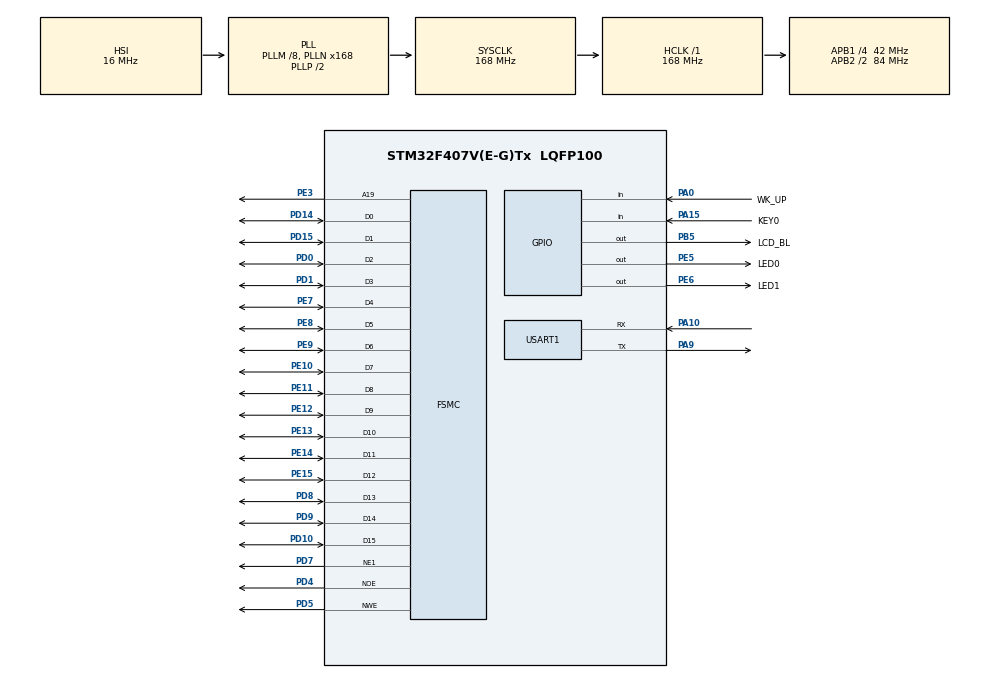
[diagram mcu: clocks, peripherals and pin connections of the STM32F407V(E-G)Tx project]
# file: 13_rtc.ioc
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FSMC.AddressSetupTime1=15
FSMC.BusTurnAroundDuration1=0
FSMC.DataSetupTime1=60
FSMC.ExtendedAddressSetupTime1=9
FSMC.ExtendedDataSetupTime1=9
FSMC.ExtendedMode1=FSMC_EXTENDED_MODE_ENABLE
Mcu.Family=STM32F4
Mcu.Name=STM32F407V(E-G)Tx
Mcu.Package=LQFP100
NVIC.PriorityGroup=NVIC_PRIORITYGROUP_2
NVIC.RTC_Alarm_IRQn=true\:0\:0\:false\:false\:true\:true\:true\:true
NVIC.TIM4_IRQn=true\:2\:1\:true\:false\:true\:true\:true\:true
NVIC.USART1_IRQn=true\:2\:2\:true\:false\:true\:true\:true\:true
PA0-WKUP.GPIO_Label=WK_UP
PA0-WKUP.GPIO_PuPd=GPIO_PULLDOWN
PA0-WKUP.Signal=GPIO_Input
PA10.Mode=Asynchronous
PA10.Signal=USART1_RX
PA13.Mode=Serial_Wire
PA13.Signal=SYS_JTMS-SWDIO
PA14.Mode=Serial_Wire
PA14.Signal=SYS_JTCK-SWCLK
PA15.GPIO_Label=KEY0
PA15.GPIO_PuPd=GPIO_PULLDOWN
PA15.Signal=GPIO_Input
PA9.Mode=Asynchronous
PA9.Signal=USART1_TX
PB5.GPIO_Label=LCD_BL
PB5.GPIO_PuPd=GPIO_PULLUP
PB5.GPIO_Speed=GPIO_SPEED_FREQ_HIGH
PB5.PinState=GPIO_PIN_SET
PB5.Signal=GPIO_Output
PC14-OSC32_IN.Mode=LSE-External-Oscillator
PC14-OSC32_IN.Signal=RCC_OSC32_IN
PC15-OSC32_OUT.Mode=LSE-External-Oscillator
PC15-OSC32_OUT.Signal=RCC_OSC32_OUT
PD0.Mode=16b-d1
PD0.Signal=FSMC_D2
PD1.Mode=16b-d1
PD1.Signal=FSMC_D3
PD10.Mode=16b-d1
PD10.Signal=FSMC_D15
PD14.Mode=16b-d1
PD14.Signal=FSMC_D0
PD15.Mode=16b-d1
PD15.Signal=FSMC_D1
PD4.Mode=Lcd1
PD4.Signal=FSMC_NOE
PD5.Mode=Lcd1
PD5.Signal=FSMC_NWE
PD7.Mode=NorPsramChipSelect1_1
PD7.Signal=FSMC_NE1
PD8.Mode=16b-d1
PD8.Signal=FSMC_D13
PD9.Mode=16b-d1
PD9.Signal=FSMC_D14
PE10.Mode=16b-d1
PE10.Signal=FSMC_D7
PE11.Mode=16b-d1
PE11.Signal=FSMC_D8
PE12.Mode=16b-d1
PE12.Signal=FSMC_D9
PE13.Mode=16b-d1
PE13.Signal=FSMC_D10
PE14.Mode=16b-d1
PE14.Signal=FSMC_D11
PE15.Mode=16b-d1
PE15.Signal=FSMC_D12
PE3.Mode=A19_1
PE3.Signal=FSMC_A19
PE5.GPIO_Label=LED0
PE5.GPIO_PuPd=GPIO_PULLUP
PE5.GPIO_Speed=GPIO_SPEED_FREQ_HIGH
PE5.PinState=GPIO_PIN_SET
PE5.Signal=GPIO_Output
PE6.GPIO_Label=LED1
PE6.GPIO_PuPd=GPIO_PULLUP
PE6.GPIO_Speed=GPIO_SPEED_FREQ_HIGH
PE6.PinState=GPIO_PIN_SET
PE6.Signal=GPIO_Output
PE7.Mode=16b-d1
PE7.Signal=FSMC_D4
PE8.Mode=16b-d1
PE8.Signal=FSMC_D5
PE9.Mode=16b-d1
PE9.Signal=FSMC_D6
PH0-OSC_IN.Mode=HSE-External-Oscillator
PH0-OSC_IN.Signal=RCC_OSC_IN
PH1-OSC_OUT.Mode=HSE-External-Oscillator
PH1-OSC_OUT.Signal=RCC_OSC_OUT
ProjectManager.HeapSize=0x200
ProjectManager.StackSize=0x400
ProjectManager.TargetToolchain=STM32CubeIDE
RCC.48MHZClocksFreq_Value=84000000
RCC.AHBFreq_Value=168000000
RCC.APB1CLKDivider=RCC_HCLK_DIV4
RCC.APB1Freq_Value=42000000
RCC.APB1TimFreq_Value=84000000
RCC.APB2CLKDivider=RCC_HCLK_DIV2
RCC.APB2Freq_Value=84000000
RCC.APB2TimFreq_Value=168000000
RCC.CortexFreq_Value=168000000
RCC.HCLKFreq_Value=168000000
RCC.HSE_VALUE=25000000
RCC.HSI_VALUE=16000000
RCC.PLLM=8
RCC.PLLN=168
RCC.RCC_RTC_Clock_Source=RCC_RTCCLKSOURCE_LSE
RCC.SYSCLKFreq_VALUE=168000000
RCC.SYSCLKSource=RCC_SYSCLKSOURCE_PLLCLK
RCC.VCOOutputFreq_Value=336000000
RTC.Alarm=RTC_ALARM_A
RTC.Date=18
RTC.Hours=9
RTC.Month=RTC_MONTH_APRIL
RTC.WeekDay=RTC_WEEKDAY_THURSDAY
RTC.Year=24
TIM4.AutoReloadPreload=TIM_AUTORELOAD_PRELOAD_ENABLE
TIM4.Period=1000
TIM4.Prescaler=8400-1
USART1.VirtualMode=VM_ASYNC
VP_RTC_VS_RTC_Activate.Mode=RTC_Enabled
VP_RTC_VS_RTC_Alarm_A_Intern.Mode=Alarm A
VP_RTC_VS_RTC_Calendar.Mode=RTC_Calendar
VP_TIM4_VS_ClockSourceINT.Mode=Internal
board=custom

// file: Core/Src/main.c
/**
 ****************************************************************************************************
 * @file        main.c
 * @author      ALIENTEK
 * @brief       rtc code
 * @license     Copyright (C) 2012-2024, ALIENTEK
 ****************************************************************************************************
 * @attention
 *
 * platform     : ALIENTEK M100-STM32F407 board
 * website      : www.alientek.com
 * forum        : www.openedv.com/forum.php
 *
 * change logs  :
 * version      data         notes
 * V1.0         20240409     the first version
 *
 ****************************************************************************************************
 */

/* USER CODE BEGIN Header */

/* USER CODE END Header */
#include "main.h"
#include "rtc.h"
#include "tim.h"
#include "usart.h"
#include "gpio.h"
#include "fsmc.h"

/* USER CODE BEGIN Includes */
#include "../../ATK_Middlewares/USMART/usmart.h"
#include "../../BSP/LED/led.h"
#include "../../BSP/KEY/key.h"
#include "../../BSP/LCD/lcd.h"
/* USER CODE END Includes */

/* USER CODE BEGIN PD */
/**
 * @brief   Displays information about the experiment
 * @param   None
 * @retval  None
 */
void stm32f407vg_show_mesg(void)
{
	/* The serial port outputs the experimental information */
	printf("\n");
	printf("********************************\r\n");
	printf("STM32F407\r\n");
	printf("RTC Test\r\n");
	printf("ATOM@ALIENTEK\r\n");
	printf("********************************\r\n");
	printf("\r\n");
}
/* USER CODE END PD */

/* USER CODE BEGIN PV */
char* weekdays[] = {"Sunday", "Monday", "Tuesday", "Wednesday",
                           "Thursday", "Friday", "Saterday"};
/* USER CODE END PV */

void SystemClock_Config(void);

int main(void)
{
  /* USER CODE BEGIN 1 */
  uint8_t t = 0;
  char tbuf[40];
  uint8_t hour, minute, second, ampm;
  uint8_t year, month, date, week;
  /* USER CODE END 1 */

  /* MCU Configuration--------------------------------------------------------*/

  /* Reset of all peripherals, Initializes the Flash interface and the Systick. */
  HAL_Init();

  /* Configure the system clock */
  SystemClock_Config();

  /* Initialize all configured peripherals */
  MX_GPIO_Init();
  MX_USART1_UART_Init();
  MX_FSMC_Init();
  MX_TIM4_Init();
  MX_RTC_Init();
  /* USER CODE BEGIN 2 */
  lcd_init();                                         /* Initialize LCD */
  stm32f407vg_show_mesg();
  lcd_show_string(30, 50, 200, 16, 16, "STM32", RED);
  lcd_show_string(30, 70, 200, 16, 16, "RTC TEST", RED);
  lcd_show_string(30, 90, 200, 16, 16, "ATOM@ALIENTEK", RED);

  /* Set RTC periodic wake-up interrupt */
  rtc_set_wakeup(RTC_WAKEUPCLOCK_CK_SPRE_16BITS, 0);
  /* USER CODE END 2 */

  /* Infinite loop */
  /* USER CODE BEGIN WHILE */
  while (1)
  {
	  t++;

	  if ((t % 10) == 0)
	  {
	  	 /* Get the RTC time information */
		  rtc_get_time(&hour, &minute, &second, &ampm);
		  sprintf(tbuf, "Time:%02d:%02d:%02d", hour, minute, second);
		  lcd_show_string(30, 120, 210, 16, 16, tbuf, RED);
		  /* Get the RTC date information */
		  rtc_get_date(&year, &month, &date, &week);
		  sprintf(tbuf, "Date:20%02d-%02d-%02d", year, month, date);
		  lcd_show_string(30, 140, 210, 16, 16, tbuf, RED);
		  sprintf(tbuf, "Week:%d", week);
		  lcd_show_string(30, 160, 210, 16, 16, tbuf, RED);
	  }

	  if (t == 20)
	  {
	  	 t = 0;
	  	 LED0_TOGGLE();   /* LED0 blinks to indicate that the program is running */
	  }

	  HAL_Delay(10);   	   /* delay 10ms */
    /* USER CODE END WHILE */

  }
}

void SystemClock_Config(void)
{
  RCC_OscInitTypeDef RCC_OscInitStruct = {0};
  RCC_ClkInitTypeDef RCC_ClkInitStruct = {0};

  /** Configure the main internal regulator output voltage
  */
  __HAL_RCC_PWR_CLK_ENABLE();
  __HAL_PWR_VOLTAGESCALING_CONFIG(PWR_REGULATOR_VOLTAGE_SCALE1);

  /** Initializes the RCC Oscillators according to the specified parameters
  * in the RCC_OscInitTypeDef structure.
  */
  RCC_OscInitStruct.OscillatorType = RCC_OSCILLATORTYPE_HSI|RCC_OSCILLATORTYPE_LSE;
  RCC_OscInitStruct.LSEState = RCC_LSE_ON;
  RCC_OscInitStruct.HSIState = RCC_HSI_ON;
  RCC_OscInitStruct.HSICalibrationValue = RCC_HSICALIBRATION_DEFAULT;
  RCC_OscInitStruct.PLL.PLLState = RCC_PLL_ON;
  RCC_OscInitStruct.PLL.PLLSource = RCC_PLLSOURCE_HSI;
  RCC_OscInitStruct.PLL.PLLM = 8;
  RCC_OscInitStruct.PLL.PLLN = 168;
  RCC_OscInitStruct.PLL.PLLP = RCC_PLLP_DIV2;
  RCC_OscInitStruct.PLL.PLLQ = 4;
  if (HAL_RCC_OscConfig(&RCC_OscInitStruct) != HAL_OK)
  {
    Error_Handler();
  }

  /** Initializes the CPU, AHB and APB buses clocks
  */
  RCC_ClkInitStruct.ClockType = RCC_CLOCKTYPE_HCLK|RCC_CLOCKTYPE_SYSCLK
                              |RCC_CLOCKTYPE_PCLK1|RCC_CLOCKTYPE_PCLK2;
  RCC_ClkInitStruct.SYSCLKSource = RCC_SYSCLKSOURCE_PLLCLK;
  RCC_ClkInitStruct.AHBCLKDivider = RCC_SYSCLK_DIV1;
  RCC_ClkInitStruct.APB1CLKDivider = RCC_HCLK_DIV4;
  RCC_ClkInitStruct.APB2CLKDivider = RCC_HCLK_DIV2;

  if (HAL_RCC_ClockConfig(&RCC_ClkInitStruct, FLASH_LATENCY_5) != HAL_OK)
  {
    Error_Handler();
  }
}

void Error_Handler(void)
{
  __disable_irq();
  while (1)
  {
  }
}
